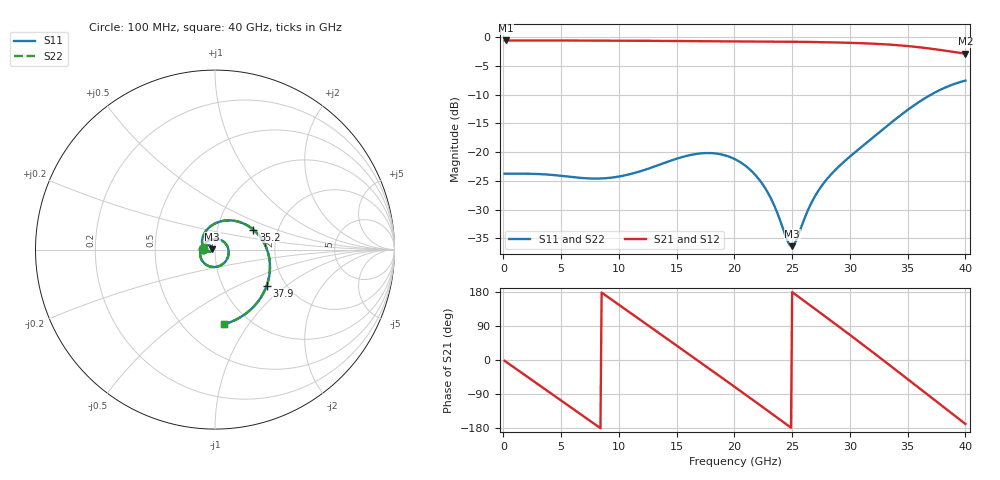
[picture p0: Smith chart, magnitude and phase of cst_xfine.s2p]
! C_s8_ap800: L1→L8, antipad Ø0.8 on every plane
! stackup: 8-layer 1.6 mm FR-4 (generic)
! ports: 1, 2
! CST Studio Suite 2025.5 Release from 2025-05-30, time domain (FIT, hexahedral, PBA), 762528 mesh cells, 99 s
! mesh: {'lpw': 40.0, 'lpb': 40.0, 'minstep': 0.0, 'ratio': 20}; ports: port 1 (face); port 2 (face)
! interpolated from CST's 1001 samples to the case grid
# Hz S RI R 50
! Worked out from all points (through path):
!   400 points, 100 MHz to 40 GHz, reference 50 ohm
!   highest |S21| = -0.58 dB at 200 MHz (marker M1); lowest = -2.9 dB at 40 GHz (marker M2)
!   group delay of S21, straight-line fit = 61.4 ps
!   lowest |S11| = -36.4 dB at 25 GHz (marker M3), VSWR 1.03, Z = 48.5 + j0.2 ohm
!   |S11| at or under -10 dB: start of sweep to 37.03 GHz
!   |S22| runs from -36.3 to -7.6 dB; largest |S21 - S12| = 4.5e-07
!   S11 on the Smith chart (normalised r, x): 100 MHz: 0.88, +0.00; 35.2 GHz: 1.49, +0.35; 37.9 GHz: 1.60, -0.73; 40 GHz: 0.77, -0.77
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1e8  -0.065 0.00101  0.9343 -0.0349  0.9343 -0.0349  -0.065 0.00101
2e8  -0.0649 0.00201  0.9324 -0.0697  0.9324 -0.0697  -0.0649 0.00201
1.8e9  -0.0623 0.0182  0.7318 -0.5819  0.7318 -0.5819  -0.0623 0.0182
3.7e9  -0.0523 0.0367  0.1762 -0.9178  0.1762 -0.9178  -0.0523 0.0367
5.2e9  -0.0389 0.0482  -0.3385 -0.8708  -0.3385 -0.8708  -0.0389 0.0482
6.8e9  -0.0211 0.0557  -0.7697 -0.5285  -0.7697 -0.5285  -0.0211 0.0557
9.7e9  0.0207 0.057  -0.8245 0.4345  -0.8245 0.4345  0.0207 0.057
1.16e10  0.0562 0.0364  -0.338 0.8663  -0.338 0.8663  0.0562 0.0364
1.34e10  0.0762 -0.0113  0.2787 0.8842  0.2787 0.8842  0.0762 -0.0113
1.52e10  0.0551 -0.0698  0.7689 0.512  0.7689 0.512  0.0551 -0.0698
1.68e10  0.000948 -0.0967  0.921 -0.0149  0.921 -0.0149  0.000958 -0.0967
2.01e10  -0.0823 -0.0258  0.2743 -0.8763  0.2743 -0.8763  -0.0823 -0.0258
2.23e10  -0.0497 0.0236  -0.471 -0.7867  -0.471 -0.7867  -0.0497 0.0235
2.5e10  -0.0151 0.00206  -0.9123 0.0131  -0.9123 0.0131  -0.0151 0.00206
2.67e10  -0.035 -0.0113  -0.706 0.5694  -0.706 0.5694  -0.035 -0.0113
2.82e10  -0.0611 0.00496  -0.2675 0.8603  -0.2675 0.8603  -0.0611 0.00498
2.97e10  -0.0721 0.0471  0.2591 0.855  0.2591 0.855  -0.0721 0.0471
3.17e10  -0.0341 0.1219  0.7832 0.4  0.7832 0.4  -0.0341 0.1219
3.34e10  0.0641 0.1625  0.84 -0.189  0.84 -0.189  0.0641 0.1625
3.52e10  0.2135 0.1114  0.475 -0.6832  0.475 -0.6832  0.2135 0.1114
3.79e10  0.288 -0.2006  -0.3761 -0.6731  -0.3761 -0.6731  0.288 -0.2006
4e10  0.0506 -0.4155  -0.704 -0.1399  -0.704 -0.1399  0.0506 -0.4155
